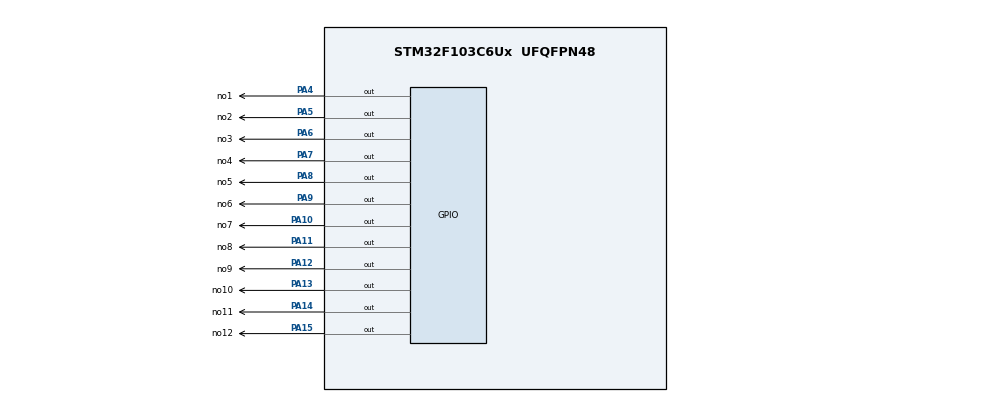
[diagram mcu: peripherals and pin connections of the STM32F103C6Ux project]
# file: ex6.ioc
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Mcu.Family=STM32F1
Mcu.Name=STM32F103C6Ux
Mcu.Package=UFQFPN48
NVIC.PriorityGroup=NVIC_PRIORITYGROUP_4
PA10.GPIO_Label=no7
PA10.Signal=GPIO_Output
PA11.GPIO_Label=no8
PA11.Signal=GPIO_Output
PA12.GPIO_Label=no9
PA12.Signal=GPIO_Output
PA13.GPIO_Label=no10
PA13.Signal=GPIO_Output
PA14.GPIO_Label=no11
PA14.Signal=GPIO_Output
PA15.GPIO_Label=no12
PA15.Signal=GPIO_Output
PA4.GPIO_Label=no1
PA4.Signal=GPIO_Output
PA5.GPIO_Label=no2
PA5.Signal=GPIO_Output
PA6.GPIO_Label=no3
PA6.Signal=GPIO_Output
PA7.GPIO_Label=no4
PA7.Signal=GPIO_Output
PA8.GPIO_Label=no5
PA8.Signal=GPIO_Output
PA9.GPIO_Label=no6
PA9.Signal=GPIO_Output
ProjectManager.HeapSize=0x200
ProjectManager.StackSize=0x400
ProjectManager.TargetToolchain=STM32CubeIDE
RCC.APB1Freq_Value=8000000
RCC.APB2Freq_Value=8000000
VP_SYS_VS_ND.Mode=No_Debug
board=custom

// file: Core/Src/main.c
/* USER CODE BEGIN Header */
/**
  ******************************************************************************
  * @file           : main.c
  * @brief          : Main program body
  ******************************************************************************
  * @attention
  *
  * <h2><center>&copy; Copyright (c) 2025 STMicroelectronics.
  * All rights reserved.</center></h2>
  *
  * This software component is licensed by ST under BSD 3-Clause license,
  * the "License"; You may not use this file except in compliance with the
  * License. You may obtain a copy of the License at:
  *                        opensource.org/licenses/BSD-3-Clause
  *
  ******************************************************************************
  */
/* USER CODE END Header */
#include "main.h"

void SystemClock_Config(void);
static void MX_GPIO_Init(void);

int main(void)
{

  /* MCU Configuration--------------------------------------------------------*/

  /* Reset of all peripherals, Initializes the Flash interface and the Systick. */
  HAL_Init();

  /* Configure the system clock */
  SystemClock_Config();

  /* Initialize all configured peripherals */
  MX_GPIO_Init();
  /* USER CODE BEGIN 2 */
  int counter = 1;
  void clock(int num) {
      // Turn OFF all 12 pins (set them HIGH)
      HAL_GPIO_WritePin(GPIOA, no1_Pin | no2_Pin | no3_Pin | no4_Pin |
                                 no5_Pin | no6_Pin | no7_Pin | no8_Pin |
                                 no9_Pin | no10_Pin | no11_Pin | no12_Pin,
                                 GPIO_PIN_SET);

      // Turn ON only the selected pin (drive LOW)
      switch(num) {
          case 1: HAL_GPIO_WritePin(GPIOA, no1_Pin, GPIO_PIN_RESET); break;
          case 2: HAL_GPIO_WritePin(GPIOA, no2_Pin, GPIO_PIN_RESET); break;
          case 3: HAL_GPIO_WritePin(GPIOA, no3_Pin, GPIO_PIN_RESET); break;
          case 4: HAL_GPIO_WritePin(GPIOA, no4_Pin, GPIO_PIN_RESET); break;
          case 5: HAL_GPIO_WritePin(GPIOA, no5_Pin, GPIO_PIN_RESET); break;
          case 6: HAL_GPIO_WritePin(GPIOA, no6_Pin, GPIO_PIN_RESET); break;
          case 7: HAL_GPIO_WritePin(GPIOA, no7_Pin, GPIO_PIN_RESET); break;
          case 8: HAL_GPIO_WritePin(GPIOA, no8_Pin, GPIO_PIN_RESET); break;
          case 9: HAL_GPIO_WritePin(GPIOA, no9_Pin, GPIO_PIN_RESET); break;
          case 10: HAL_GPIO_WritePin(GPIOA, no10_Pin, GPIO_PIN_RESET); break;
          case 11: HAL_GPIO_WritePin(GPIOA, no11_Pin, GPIO_PIN_RESET); break;
          case 12: HAL_GPIO_WritePin(GPIOA, no12_Pin, GPIO_PIN_RESET); break;
          default: break; // ignore invalid values
      }
  }
  /* USER CODE END 2 */

  /* Infinite loop */
  /* USER CODE BEGIN WHILE */
  while (1)
  {
	  HAL_Delay(1000);
	  clock(counter++);
	  if(counter > 12) counter = 1;

    /* USER CODE END WHILE */

  }
}

void SystemClock_Config(void)
{
  RCC_OscInitTypeDef RCC_OscInitStruct = {0};
  RCC_ClkInitTypeDef RCC_ClkInitStruct = {0};

  /** Initializes the RCC Oscillators according to the specified parameters
  * in the RCC_OscInitTypeDef structure.
  */
  RCC_OscInitStruct.OscillatorType = RCC_OSCILLATORTYPE_HSI;
  RCC_OscInitStruct.HSIState = RCC_HSI_ON;
  RCC_OscInitStruct.HSICalibrationValue = RCC_HSICALIBRATION_DEFAULT;
  RCC_OscInitStruct.PLL.PLLState = RCC_PLL_NONE;
  if (HAL_RCC_OscConfig(&RCC_OscInitStruct) != HAL_OK)
  {
    Error_Handler();
  }
  /** Initializes the CPU, AHB and APB buses clocks
  */
  RCC_ClkInitStruct.ClockType = RCC_CLOCKTYPE_HCLK|RCC_CLOCKTYPE_SYSCLK
                              |RCC_CLOCKTYPE_PCLK1|RCC_CLOCKTYPE_PCLK2;
  RCC_ClkInitStruct.SYSCLKSource = RCC_SYSCLKSOURCE_HSI;
  RCC_ClkInitStruct.AHBCLKDivider = RCC_SYSCLK_DIV1;
  RCC_ClkInitStruct.APB1CLKDivider = RCC_HCLK_DIV1;
  RCC_ClkInitStruct.APB2CLKDivider = RCC_HCLK_DIV1;

  if (HAL_RCC_ClockConfig(&RCC_ClkInitStruct, FLASH_LATENCY_0) != HAL_OK)
  {
    Error_Handler();
  }
}

static void MX_GPIO_Init(void)
{
  GPIO_InitTypeDef GPIO_InitStruct = {0};

  /* GPIO Ports Clock Enable */
  __HAL_RCC_GPIOA_CLK_ENABLE();

  /*Configure GPIO pin Output Level */
  HAL_GPIO_WritePin(GPIOA, no1_Pin|no2_Pin|no3_Pin|no4_Pin
                          |no5_Pin|no6_Pin|no7_Pin|no8_Pin
                          |no9_Pin|no10_Pin|no11_Pin|no12_Pin, GPIO_PIN_RESET);

  /*Configure GPIO pins : no1_Pin no2_Pin no3_Pin no4_Pin
                           no5_Pin no6_Pin no7_Pin no8_Pin
                           no9_Pin no10_Pin no11_Pin no12_Pin */
  GPIO_InitStruct.Pin = no1_Pin|no2_Pin|no3_Pin|no4_Pin
                          |no5_Pin|no6_Pin|no7_Pin|no8_Pin
                          |no9_Pin|no10_Pin|no11_Pin|no12_Pin;
  GPIO_InitStruct.Mode = GPIO_MODE_OUTPUT_PP;
  GPIO_InitStruct.Pull = GPIO_NOPULL;
  GPIO_InitStruct.Speed = GPIO_SPEED_FREQ_LOW;
  HAL_GPIO_Init(GPIOA, &GPIO_InitStruct);

}

void Error_Handler(void)
{
  __disable_irq();
  while (1)
  {
  }
}

/************************ (C) COPYRIGHT STMicroelectronics *****END OF FILE****/
